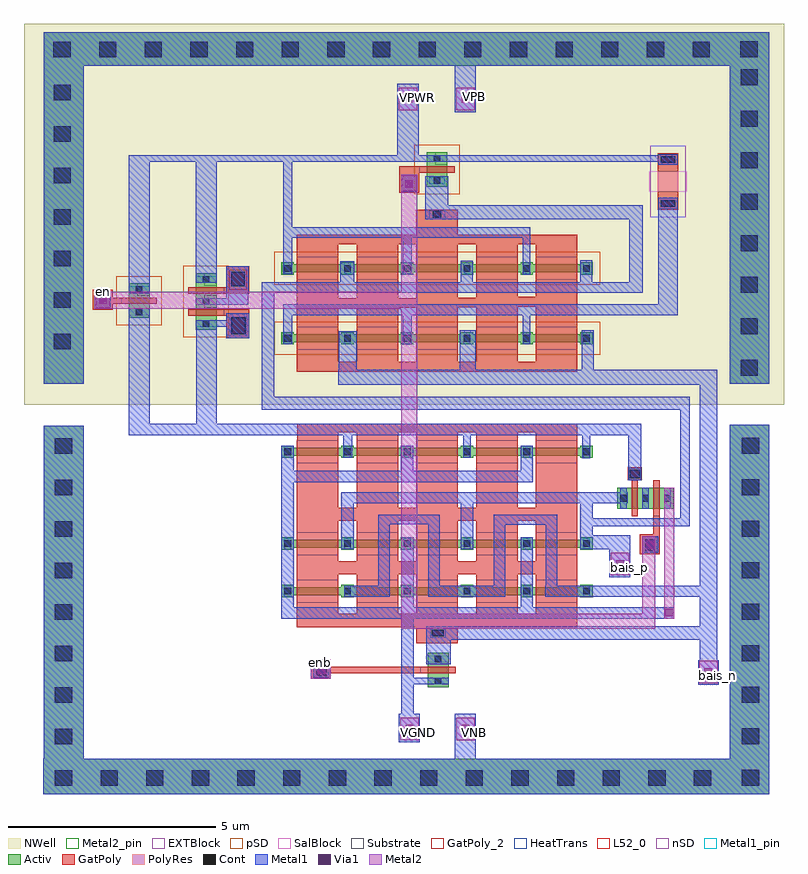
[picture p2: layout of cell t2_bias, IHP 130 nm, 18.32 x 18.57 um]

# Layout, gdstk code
from math import pi, radians
import gdstk
lib = gdstk.Library(unit=1e-6, precision=1e-09)
def R(c, l, rs):  # rectangles x0, y0, x1, y1
    for r in rs: c.add(gdstk.rectangle(r[:2], r[2:], *l))
def A(c, l, x, y, w, h, nx, ny, dx, dy):  # array of equal rectangles
    R(c, l, [(x+i*dx, y+j*dy, x+i*dx+w, y+j*dy+h) for i in range(nx) for j in range(ny)])
Activ = (1, 0)
GatPoly = (5, 0)
GatPoly_2 = (5, 2)
Cont = (6, 0)
nSD = (7, 0)
Metal1 = (8, 0)
Metal1_pin = (8, 2)
Metal2 = (10, 0)
Metal2_pin = (10, 2)
pSD = (14, 0)
Via1 = (19, 0)
SalBlock = (28, 0)
NWell = (31, 0)
Substrate = (40, 0)
HeatTrans = (51, 0)
L52_0 = (52, 0)
EXTBlock = (111, 0)
PolyRes = (128, 0)

nmos_1_2 = lib.new_cell('nmos$1$2')
A(nmos_1_2, Activ, 0, 0, 0.3, 0.3, 6, 1, 1.44, 0)
R(nmos_1_2, Activ, [(0,0.05,7.5,0.25)])
A(nmos_1_2, GatPoly, 0.37, -0.13, 1, 0.56, 5, 1, 1.44, 0)
R(nmos_1_2, GatPoly_2, [(0.37,-0.13,1.37,0.43)])
A(nmos_1_2, Cont, 0.07, 0.07, 0.16, 0.16, 6, 1, 1.44, 0)
A(nmos_1_2, Metal1, 0.07, 0.02, 0.16, 0.26, 6, 1, 1.44, 0)
R(nmos_1_2, Metal1_pin, [(0.07,0.02,0.23,0.28), (1.51,0.02,1.67,0.28)])
A(nmos_1_2, HeatTrans, 0.37, -0.13, 1, 0.56, 5, 1, 1.44, 0)
nmos_1_2.add(gdstk.Label('nmos', (0.87,0.15), layer=63, texttype=0))
nmos_1_2.add(gdstk.Label('nmos', (0.87,0.15), layer=51, texttype=0))
nmos_1_2.add(gdstk.Label('nmos', (2.31,0.15), layer=51, texttype=0))
nmos_1_2.add(gdstk.Label('nmos', (3.75,0.15), layer=51, texttype=0))
nmos_1_2.add(gdstk.Label('nmos', (5.19,0.15), layer=51, texttype=0))
nmos_1_2.add(gdstk.Label('nmos', (6.63,0.15), layer=51, texttype=0))

pmos_1_1 = lib.new_cell('pmos$1$1')
A(pmos_1_1, Activ, 0, 0, 0.3, 0.3, 6, 1, 1.44, 0)
R(pmos_1_1, Activ, [(0,0.05,7.5,0.25)])
A(pmos_1_1, GatPoly, 0.37, -0.13, 1, 0.56, 5, 1, 1.44, 0)
R(pmos_1_1, GatPoly, [(0.37,-0.13,1.37,0.43)])
A(pmos_1_1, Cont, 0.07, 0.07, 0.16, 0.16, 6, 1, 1.44, 0)
A(pmos_1_1, Metal1, 1.51, 0.02, 0.16, 0.26, 5, 1, 1.44, 0)
R(pmos_1_1, Metal1, [(0.07,0.02,0.23,0.28), (0.07,0.02,0.23,0.28), (1.51,0.02,1.67,0.28)])
R(pmos_1_1, pSD, [(-0.18,-0.25,7.68,0.55)])
R(pmos_1_1, NWell, [(-0.31,-0.31,7.81,0.61)])
R(pmos_1_1, Substrate, [(7.2,0,7.5,0.3)])
A(pmos_1_1, HeatTrans, 0.37, -0.13, 1, 0.56, 5, 1, 1.44, 0)
pmos_1_1.add(gdstk.Label('pmos', (0.87,0.15), layer=63, texttype=0))
pmos_1_1.add(gdstk.Label('pmos', (0.87,0.15), layer=51, texttype=0))
pmos_1_1.add(gdstk.Label('pmos', (2.31,0.15), layer=51, texttype=0))
pmos_1_1.add(gdstk.Label('pmos', (3.75,0.15), layer=51, texttype=0))
pmos_1_1.add(gdstk.Label('pmos', (5.19,0.15), layer=51, texttype=0))
pmos_1_1.add(gdstk.Label('pmos', (6.63,0.15), layer=51, texttype=0))

rhigh_1 = lib.new_cell('rhigh$1')
R(rhigh_1, GatPoly, [(0,-0.43,0.5,0), (0,0.5,0.5,0.93)])
R(rhigh_1, Cont, [(0.07,-0.36,0.43,-0.2), (0.07,0.7,0.43,0.86)])
R(rhigh_1, nSD, [(-0.18,-0.61,0.68,0.18), (-0.18,0,0.68,0.5), (-0.18,0,0.68,0.5), (-0.18,0.32,0.68,1.11)])
R(rhigh_1, Metal1, [(0.02,-0.41,0.48,-0.15), (0.02,0.65,0.48,0.91)])
R(rhigh_1, Metal1_pin, [(0.02,-0.41,0.48,-0.15), (0.02,0.65,0.48,0.91)])
R(rhigh_1, pSD, [(-0.18,-0.61,0.68,0.18), (-0.18,0,0.68,0.5), (-0.18,0,0.68,0.5), (-0.18,0.32,0.68,1.11)])
R(rhigh_1, SalBlock, [(-0.2,0,0.7,0.5)])
R(rhigh_1, L52_0, [(0,0,0.5,0.5)])
R(rhigh_1, EXTBlock, [(-0.18,-0.61,0.68,0.18), (-0.2,0,0.7,0.5), (-0.18,0.32,0.68,1.11)])
R(rhigh_1, PolyRes, [(0,0,0.5,0.5)])
rhigh_1.add(gdstk.Label('rpnd r=1798.261', (0.25,0.25), layer=63, texttype=0))
rhigh_1.add(gdstk.Label('rhigh', (0.25,0.25), layer=52, texttype=0))

pmos_6 = lib.new_cell('pmos$6')
R(pmos_6, Activ, [(0,0,0.3,0.3), (0,0,0.83,0.5), (0.53,0,0.83,0.3)])
R(pmos_6, GatPoly, [(0.34,-0.18,0.49,0.68), (0.34,-0.18,0.49,0.68)])
R(pmos_6, Cont, [(0.07,0.17,0.23,0.33), (0.6,0.17,0.76,0.33)])
R(pmos_6, Metal1, [(0.07,0,0.23,0.5), (0.07,0,0.23,0.5), (0.6,0,0.76,0.5), (0.6,0,0.76,0.5)])
R(pmos_6, pSD, [(-0.18,-0.3,1.01,0.8)])
R(pmos_6, NWell, [(-0.31,-0.31,1.14,0.81)])
R(pmos_6, Substrate, [(0.53,0,0.83,0.3)])
R(pmos_6, HeatTrans, [(0.34,-0.18,0.49,0.68)])
pmos_6.add(gdstk.Label('pmos', (0.415,0.25), layer=63, texttype=0))
pmos_6.add(gdstk.Label('pmos', (0.415,0.25), layer=51, texttype=0))

pmos_2_3 = lib.new_cell('pmos$2$3')
R(pmos_2_3, Activ, [(0,0,0.3,0.3), (0,0,0.83,0.5), (0.53,0,0.83,0.3)])
R(pmos_2_3, GatPoly, [(0.34,-0.18,0.49,0.68), (0.34,-0.18,0.49,0.68)])
R(pmos_2_3, Cont, [(0.07,0.17,0.23,0.33), (0.6,0.17,0.76,0.33)])
R(pmos_2_3, Metal1, [(0.07,0,0.23,0.5), (0.07,0,0.23,0.5), (0.6,0,0.76,0.5), (0.6,0,0.76,0.5)])
R(pmos_2_3, pSD, [(-0.18,-0.3,1.01,0.8)])
R(pmos_2_3, NWell, [(-0.31,-0.31,1.14,0.81)])
R(pmos_2_3, Substrate, [(0.53,0,0.83,0.3)])
R(pmos_2_3, HeatTrans, [(0.34,-0.18,0.49,0.68)])
pmos_2_3.add(gdstk.Label('pmos', (0.415,0.25), layer=63, texttype=0))
pmos_2_3.add(gdstk.Label('pmos', (0.415,0.25), layer=51, texttype=0))

nmos_8 = lib.new_cell('nmos$8')
R(nmos_8, Activ, [(0,0,0.3,0.3), (0,0,0.83,0.5), (0.53,0,0.83,0.3)])
R(nmos_8, GatPoly, [(0.34,-0.18,0.49,0.68)])
R(nmos_8, GatPoly_2, [(0.34,-0.18,0.49,0.68)])
R(nmos_8, Cont, [(0.07,0.17,0.23,0.33), (0.6,0.17,0.76,0.33)])
R(nmos_8, Metal1, [(0.07,0,0.23,0.5), (0.6,0,0.76,0.5)])
R(nmos_8, Metal1_pin, [(0.07,0,0.23,0.5), (0.6,0,0.76,0.5)])
R(nmos_8, HeatTrans, [(0.34,-0.18,0.49,0.68)])
nmos_8.add(gdstk.Label('nmos', (0.415,0.25), layer=63, texttype=0))
nmos_8.add(gdstk.Label('nmos', (0.415,0.25), layer=51, texttype=0))

t2_bias = lib.new_cell('t2_bias')
R(t2_bias, Activ, [(-303.785,-0.92,-287.24,-0.06), (-287.24,-0.92,-286.295,7.985), (-303.78,-0.06,-302.815,7.965), (-303.78,-0.06,-302.815,7.965), (-303.78,8.97,-302.815,17.45), (-287.24,8.97,-286.29,16.64), (-302.815,16.64,-286.29,17.45)])
A(t2_bias, GatPoly, -296.675, 3.11, 0.44, 0.315, 4, 2, 1.44, 1.27)
A(t2_bias, GatPoly, -297.675, 5.4, 1, 1.655, 5, 1, 1.44, 0)
A(t2_bias, GatPoly, -296.675, 5.67, 0.44, 0.315, 4, 1, 1.44, 0)
A(t2_bias, GatPoly, -296.235, 7.615, 1, 0.39, 4, 1, 1.44, 0)
A(t2_bias, GatPoly, -297.675, 9.26, 1, 0.53, 5, 1, 1.44, 0)
A(t2_bias, GatPoly, -297.675, 10.35, 1, 1.125, 5, 1, 1.44, 0)
R(t2_bias, GatPoly, [(-297.335,1.86,-296.855,2.34), (-296.855,2,-294.7,2.15), (-294.795,2.725,-293.795,3.695), (-297.675,3.11,-296.675,3.695), (-296.235,3.11,-295.235,3.695), (-293.355,3.11,-292.355,3.695), (-291.915,3.11,-290.915,3.695), (-297.675,4.255,-296.68,4.84), (-297.675,4.255,-296.68,4.84), (-297.675,4.255,-296.68,4.84), (-297.675,4.255,-296.675,4.84), (-296.235,4.255,-295.235,4.84), (-296.235,4.255,-295.235,4.84), (-296.235,4.255,-295.235,4.84), (-294.795,4.255,-293.795,4.84), (-294.795,4.255,-293.795,4.84), (-294.795,4.255,-293.795,4.84), (-293.355,4.255,-292.355,4.84), (-293.355,4.255,-292.355,4.84), (-293.355,4.255,-292.355,4.84), (-291.915,4.255,-290.915,4.84), (-291.915,4.255,-290.915,4.84), (-291.915,4.255,-290.915,4.84), (-289.41,4.87,-288.93,5.35), (-289.08,5.35,-288.93,5.785), (-289.7,6.645,-289.36,6.96), (-297.67,7.615,-296.675,8.005), (-295.235,7.805,-294.795,8.005), (-293.795,7.805,-293.355,8.005), (-296.675,7.81,-296.235,8.005), (-292.355,7.81,-291.915,8.005), (-296.675,9.26,-296.235,9.505), (-295.235,9.26,-294.795,9.505), (-293.795,9.26,-293.355,9.5), (-292.355,9.26,-291.915,9.5), (-299.38,10.07,-298.825,10.615), (-299.43,10.615,-298.825,10.765), (-302.595,10.755,-302.115,11.235), (-296.675,10.775,-296.235,11.03), (-295.235,10.8,-294.795,11.03), (-293.795,10.82,-293.355,11.05), (-292.355,10.83,-291.915,11.065), (-302.115,10.9,-301.905,11.05), (-299.43,11.145,-298.825,11.295), (-299.38,11.295,-298.825,11.805), (-297.675,12.035,-296.675,12.565), (-296.235,12.035,-295.235,12.565), (-294.795,12.035,-293.795,13.165), (-293.355,12.035,-292.355,12.565), (-291.915,12.035,-290.915,12.565), (-296.675,12.33,-296.235,12.565), (-295.235,12.335,-294.795,12.565), (-292.355,12.335,-291.915,12.565), (-293.795,12.34,-293.355,12.565), (-295.21,13.58,-294.73,14.06), (-295.21,14.06,-294.725,14.21)])
R(t2_bias, GatPoly_2, [(-297.25,1.91,-296.925,2.265), (-294.465,2.85,-294.085,3.085), (-289.325,4.92,-289,5.275), (-289.675,6.645,-289.385,6.935), (-299.29,10.12,-298.865,10.66), (-302.51,10.805,-302.185,11.16), (-299.3,11.235,-298.885,11.725), (-294.485,12.975,-294.1,13.145), (-295.125,13.63,-294.8,13.985)])
A(t2_bias, Cont, -303.505, -0.715, 0.415, 0.38, 15, 1, 1.1, 0)
A(t2_bias, Cont, -303.535, 9.8, 0.415, 0.38, 1, 7, 0, 1)
A(t2_bias, Cont, -303.54, 16.84, 0.415, 0.38, 15, 1, 1.1, 0)
R(t2_bias, Cont, [(-303.505,-0.715,-303.09,-0.335), (-286.95,-0.71,-286.535,-0.33), (-286.95,-0.71,-286.535,-0.33), (-303.505,0.285,-303.09,0.665), (-303.505,0.285,-303.09,0.665), (-286.95,0.29,-286.535,0.67), (-286.95,0.29,-286.535,0.67), (-303.505,1.285,-303.09,1.665), (-303.505,1.285,-303.09,1.665), (-286.95,1.29,-286.535,1.67), (-286.95,1.29,-286.535,1.67), (-297.205,1.94,-296.96,2.22), (-303.505,2.285,-303.09,2.665), (-303.505,2.285,-303.09,2.665), (-286.95,2.29,-286.535,2.67), (-286.95,2.29,-286.535,2.67), (-294.42,2.885,-294.135,3.045), (-303.505,3.285,-303.09,3.665), (-303.505,3.285,-303.09,3.665), (-286.95,3.29,-286.535,3.67), (-286.95,3.29,-286.535,3.67), (-303.505,4.285,-303.09,4.665), (-303.505,4.285,-303.09,4.665), (-286.95,4.29,-286.535,4.67), (-286.95,4.29,-286.535,4.67), (-289.28,4.95,-289.035,5.23), (-303.505,5.285,-303.09,5.665), (-303.505,5.285,-303.09,5.665), (-286.95,5.29,-286.535,5.67), (-286.95,5.29,-286.535,5.67), (-303.505,6.285,-303.09,6.665), (-303.505,6.285,-303.09,6.665), (-286.95,6.29,-286.535,6.67), (-286.95,6.29,-286.535,6.67), (-289.65,6.7,-289.41,6.905), (-303.505,7.285,-303.09,7.665), (-303.505,7.285,-303.09,7.665), (-286.95,7.29,-286.535,7.67), (-286.95,7.29,-286.535,7.67), (-286.98,9.17,-286.565,9.55), (-286.98,9.17,-286.565,9.55), (-299.25,10.17,-298.91,10.58), (-286.98,10.17,-286.565,10.55), (-286.98,10.17,-286.565,10.55), (-286.98,11.17,-286.565,11.55), (-286.98,11.17,-286.565,11.55), (-299.25,11.325,-298.93,11.67), (-286.98,12.17,-286.565,12.55), (-286.98,12.17,-286.565,12.55), (-294.395,12.975,-294.195,13.145), (-286.98,13.17,-286.565,13.55), (-286.98,13.17,-286.565,13.55), (-286.98,14.17,-286.565,14.55), (-286.98,14.17,-286.565,14.55), (-286.98,15.17,-286.565,15.55), (-286.98,15.17,-286.565,15.55), (-286.98,16.17,-286.565,16.55), (-286.98,16.17,-286.565,16.55), (-303.54,16.84,-303.125,17.22), (-286.985,16.845,-286.57,17.225), (-286.985,16.845,-286.57,17.225)])
R(t2_bias, Metal1, [(-303.785,-0.92,-287.24,-0.06), (-287.24,-0.92,-286.295,7.985), (-303.78,-0.06,-302.815,7.965), (-293.875,-0.06,-293.36,0.34), (-295.225,0.335,-294.71,1.015), (-293.875,0.34,-293.36,1.02), (-295.16,1.015,-294.855,3.315), (-288.005,1.725,-287.51,2.315), (-294.855,1.73,-294.52,1.89), (-287.97,1.75,-287.545,8.945), (-297.28,1.885,-296.895,2.29), (-294.56,2.215,-293.97,3.135), (-293.97,2.8,-287.97,3.135), (-294.465,2.85,-294.085,3.085), (-298.045,3.315,-297.755,7.485), (-297.755,3.315,-288.575,3.585), (-295.16,3.585,-294.855,5.27), (-292.285,3.585,-291.985,5.27), (-296.535,3.845,-295.71,4.105), (-295.71,3.845,-295.435,5.82), (-294.505,3.845,-292.935,4.105), (-292.935,3.845,-292.65,5.82), (-291.685,3.845,-287.97,4.105), (-294.505,4.105,-294.235,5.585), (-291.68,4.105,-291.395,5.575), (-290.15,4.31,-289.635,4.99), (-289.355,4.895,-288.97,5.3), (-296.605,4.99,-296.305,6.09), (-293.725,4.99,-293.425,6.09), (-290.845,4.99,-290.545,6.36), (-290.545,4.99,-289.635,5.32), (-290.545,5.54,-288.435,5.735), (-288.435,5.54,-288.21,8.66), (-292.65,5.575,-291.395,5.82), (-295.435,5.585,-294.235,5.82), (-296.605,6.09,-290.845,6.36), (-290.545,6.09,-289.7,6.36), (-297.755,6.6,-291.985,6.875), (-289.69,6.645,-289.37,8.005), (-295.165,6.875,-294.865,7.485), (-292.285,6.875,-291.985,7.485), (-290.795,7.175,-290.605,7.735), (-296.56,7.19,-296.345,7.735), (-293.665,7.195,-293.485,7.735), (-301.725,7.735,-289.69,8.005), (-301.725,8.005,-301.225,10.63), (-300.1,8.005,-299.61,10.345), (-298.515,8.35,-298.22,11.165), (-298.22,8.35,-288.435,8.66), (-296.68,8.945,-287.545,9.305), (-303.78,8.97,-302.815,17.45), (-287.24,8.97,-286.29,16.64), (-296.665,9.305,-296.23,10.24), (-293.755,9.305,-293.365,10.26), (-290.805,9.305,-290.515,10.26), (-295.12,9.915,-294.91,10.625), (-298.005,9.92,-297.78,10.625), (-292.225,9.925,-292.045,10.885), (-299.38,10.07,-298.825,10.67), (-299.61,10.345,-299.38,10.505), (-298.005,10.625,-292.225,10.885), (-292.045,10.625,-288.5,10.885), (-302.54,10.78,-302.155,11.185), (-299.61,10.875,-299.38,11.035), (-299.38,10.875,-298.84,11.2), (-288.96,10.885,-288.5,13.19), (-298.515,11.165,-289.665,11.415), (-289.665,11.165,-289.335,13.275), (-299.38,11.2,-298.835,11.805), (-301.725,11.32,-301.225,14.32), (-296.63,11.415,-296.29,11.925), (-293.73,11.415,-293.43,11.935), (-290.84,11.415,-290.55,11.945), (-300.11,11.565,-299.61,14.32), (-292.225,11.6,-292.045,12.75), (-295.12,11.605,-294.91,12.49), (-298.005,11.61,-297.78,12.49), (-298.005,12.49,-292.225,12.75), (-298.005,12.75,-297.78,14.48), (-294.575,12.935,-294.025,13.975), (-294.025,12.935,-289.665,13.275), (-295.155,13.605,-294.77,14.01), (-301.725,14.32,-298.005,14.48), (-297.78,14.32,-294.545,14.48), (-294.045,14.32,-288.96,14.48), (-295.255,14.48,-294.74,15.52), (-293.875,15.515,-293.36,16.195), (-295.255,15.52,-294.74,16.2), (-293.875,16.195,-293.36,16.64), (-302.815,16.64,-286.29,17.45)])
A(t2_bias, Metal1_pin, -303.505, -0.715, 0.415, 0.38, 15, 1, 1.1, 0)
A(t2_bias, Metal1_pin, -295.095, 3.845, 0.16, 0.26, 4, 2, 1.44, 3.36)
A(t2_bias, Metal1_pin, -295.095, 4.99, 0.16, 0.26, 3, 1, 1.44, 0)
A(t2_bias, Metal1_pin, -303.535, 9.8, 0.415, 0.38, 1, 7, 0, 1)
A(t2_bias, Metal1_pin, -297.975, 9.94, 0.16, 0.26, 6, 2, 1.44, 1.685)
A(t2_bias, Metal1_pin, -300.11, 10.345, 0.5, 0.16, 1, 3, 0, 0.53)
A(t2_bias, Metal1_pin, -303.54, 16.84, 0.415, 0.38, 15, 1, 1.1, 0)
R(t2_bias, Metal1_pin, [(-303.505,-0.715,-303.09,-0.335), (-286.95,-0.71,-286.535,-0.33), (-286.95,-0.71,-286.535,-0.33), (-303.505,0.285,-303.09,0.665), (-303.505,0.285,-303.09,0.665), (-286.95,0.29,-286.535,0.67), (-286.95,0.29,-286.535,0.67), (-295.185,0.38,-294.74,0.925), (-295.185,0.38,-294.74,0.925), (-293.835,0.385,-293.39,0.93), (-293.835,0.385,-293.39,0.93), (-303.505,1.285,-303.09,1.665), (-303.505,1.285,-303.09,1.665), (-286.95,1.29,-286.535,1.67), (-286.95,1.29,-286.535,1.67), (-287.98,1.75,-287.535,2.295), (-287.98,1.75,-287.535,2.295), (-297.25,1.91,-296.925,2.265), (-303.505,2.285,-303.09,2.665), (-303.505,2.285,-303.09,2.665), (-286.95,2.29,-286.535,2.67), (-286.95,2.29,-286.535,2.67), (-294.465,2.85,-294.085,3.085), (-294.465,2.85,-294.085,3.085), (-303.505,3.285,-303.09,3.665), (-303.505,3.285,-303.09,3.665), (-286.95,3.29,-286.535,3.67), (-286.95,3.29,-286.535,3.67), (-288.82,3.315,-288.575,3.585), (-303.505,4.285,-303.09,4.665), (-303.505,4.285,-303.09,4.665), (-286.95,4.29,-286.535,4.67), (-286.95,4.29,-286.535,4.67), (-290.11,4.355,-289.665,4.9), (-290.11,4.355,-289.665,4.9), (-289.325,4.92,-289,5.275), (-290.775,4.995,-290.615,5.25), (-303.505,5.285,-303.09,5.665), (-303.505,5.285,-303.09,5.665), (-286.95,5.29,-286.535,5.67), (-286.95,5.29,-286.535,5.67), (-303.505,6.285,-303.09,6.665), (-303.505,6.285,-303.09,6.665), (-286.95,6.29,-286.535,6.67), (-286.95,6.29,-286.535,6.67), (-289.675,6.645,-289.385,6.935), (-303.505,7.285,-303.09,7.665), (-303.505,7.285,-303.09,7.665), (-286.95,7.29,-286.535,7.67), (-286.95,7.29,-286.535,7.67), (-286.98,9.17,-286.565,9.55), (-286.98,9.17,-286.565,9.55), (-299.29,10.12,-298.865,10.66), (-286.98,10.17,-286.565,10.55), (-286.98,10.17,-286.565,10.55), (-301.725,10.63,-301.225,10.79), (-302.54,10.78,-302.155,11.185), (-301.725,11.16,-301.225,11.32), (-286.98,11.17,-286.565,11.55), (-286.98,11.17,-286.565,11.55), (-299.25,11.33,-298.93,11.67), (-286.98,12.17,-286.565,12.55), (-286.98,12.17,-286.565,12.55), (-294.485,12.975,-294.1,13.145), (-286.98,13.17,-286.565,13.55), (-286.98,13.17,-286.565,13.55), (-295.155,13.605,-294.77,14.01), (-294.49,13.79,-294.105,13.95), (-286.98,14.17,-286.565,14.55), (-286.98,14.17,-286.565,14.55), (-286.98,15.17,-286.565,15.55), (-286.98,15.17,-286.565,15.55), (-293.835,15.56,-293.39,16.105), (-293.835,15.56,-293.39,16.105), (-295.215,15.565,-294.77,16.11), (-295.215,15.565,-294.77,16.11), (-286.98,16.17,-286.565,16.55), (-286.98,16.17,-286.565,16.55), (-303.54,16.84,-303.125,17.22), (-286.985,16.845,-286.57,17.225), (-286.985,16.845,-286.57,17.225)])
R(t2_bias, Metal2, [(-295.185,0.38,-294.74,0.925), (-293.835,0.385,-293.39,0.93), (-287.98,1.75,-287.535,2.295), (-297.335,1.86,-296.855,2.34), (-295.155,3.075,-294.77,13.605), (-294.77,3.075,-289.355,3.43), (-289.355,3.075,-289.035,4.895), (-288.82,3.315,-288.575,6.465), (-290.11,4.355,-289.665,4.9), (-289.355,4.895,-289.035,5.3), (-302.54,10.78,-302.155,11.185), (-302.155,10.78,-295.155,11.185), (-295.155,13.605,-294.77,14.01), (-293.835,15.56,-293.39,16.105), (-295.215,15.565,-294.77,16.11)])
R(t2_bias, Metal2_pin, [(-295.185,0.38,-294.74,0.925), (-293.835,0.385,-293.39,0.93), (-287.98,1.75,-287.535,2.295), (-297.25,1.91,-296.925,2.265), (-288.82,3.315,-288.575,3.585), (-290.11,4.355,-289.665,4.9), (-289.355,4.895,-289.035,5.3), (-288.82,5.965,-288.66,6.465), (-302.54,10.785,-302.155,11.185), (-295.155,13.605,-294.77,14.01), (-293.835,15.56,-293.39,16.105), (-295.215,15.565,-294.77,16.11)])
R(t2_bias, pSD, [(-303.785,-0.92,-287.24,-0.06), (-287.24,-0.92,-286.295,7.985), (-303.78,-0.06,-302.815,7.965), (-303.78,-0.06,-302.815,7.965)])
R(t2_bias, Via1, [(-295.055,0.56,-294.865,0.75), (-293.705,0.565,-293.515,0.755), (-287.855,1.925,-287.665,2.115), (-297.175,1.98,-296.985,2.17), (-288.8,3.365,-288.61,3.555), (-289.98,4.535,-289.79,4.725), (-289.25,4.995,-289.06,5.185), (-302.435,10.89,-302.245,11.08), (-295.07,13.7,-294.88,13.89), (-293.705,15.74,-293.515,15.93), (-295.085,15.745,-294.895,15.935)])
R(t2_bias, NWell, [(-304.25,8.47,-285.935,17.65)])
t2_bias.add(gdstk.Reference(nmos_1_2, (-298.045,3.825)))
t2_bias.add(gdstk.Reference(nmos_1_2, (-298.045,4.97)))
t2_bias.add(gdstk.Reference(nmos_1_2, (-298.045,7.185)))
t2_bias.add(gdstk.Reference(pmos_1_1, (-298.045,9.92)))
t2_bias.add(gdstk.Reference(rhigh_1, (-288.98,13.6)))
t2_bias.add(gdstk.Reference(pmos_6, (-294.045,13.72), rotation=pi/2))
t2_bias.add(gdstk.Reference(pmos_2_3, (-301.225,10.56), rotation=pi/2))
t2_bias.add(gdstk.Reference(nmos_8, (-294.02,1.66), rotation=pi/2))
t2_bias.add(gdstk.Reference(nmos_8, (-289.12,6.465), rotation=pi))
t2_bias.add(gdstk.Reference(nmos_8, (-288.59,6.465), rotation=pi))
t2_bias.add(gdstk.Reference(pmos_2_3, (-299.61,10.275), rotation=pi/2))
t2_bias.add(gdstk.Reference(pmos_6, (-299.61,10.805), rotation=pi/2))
t2_bias.add(gdstk.Reference(pmos_1_1, (-298.045,11.605)))
t2_bias.add(gdstk.Label('bais_n', (-287.535,1.95), layer=10, texttype=2))
t2_bias.add(gdstk.Label('en', (-302.345,11.185), layer=10, texttype=2))
t2_bias.add(gdstk.Label('VPWR', (-294.77,15.86), layer=10, texttype=2))
t2_bias.add(gdstk.Label('VPB', (-293.39,15.885), layer=10, texttype=2))
t2_bias.add(gdstk.Label('VGND', (-294.74,0.58), layer=10, texttype=2))
t2_bias.add(gdstk.Label('VNB', (-293.39,0.58), layer=10, texttype=2))
t2_bias.add(gdstk.Label('bais_p', (-289.665,4.535), layer=10, texttype=2))
t2_bias.add(gdstk.Label('enb', (-297.11,2.265), layer=10, texttype=2))

lib.write_gds('t2_bias.gds')
